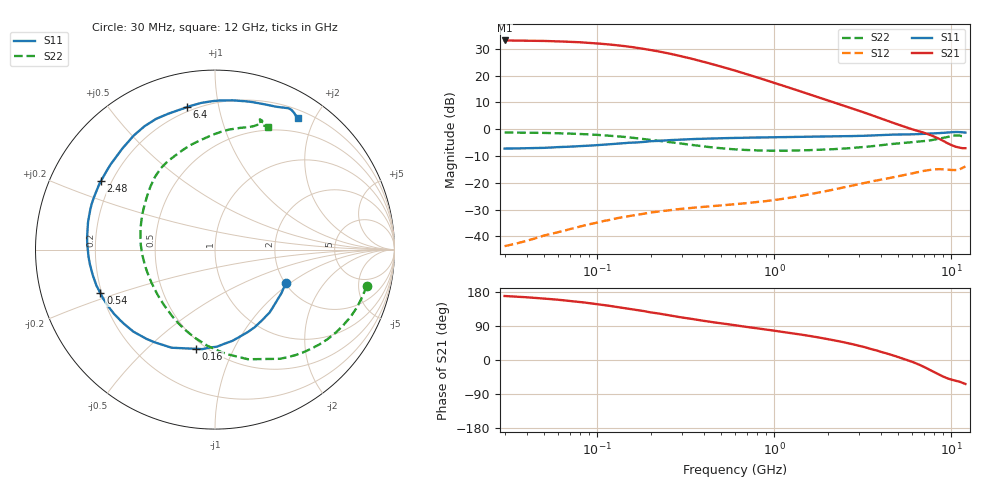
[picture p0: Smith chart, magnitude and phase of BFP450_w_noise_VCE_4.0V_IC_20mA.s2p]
! (c) 2015  Infineon Technologies AG, Munich
! Infineon Technologies  Discrete & RF Semiconductors
! BFP450
! VCE =  4.0 V,  IC =  20 mA
! Common Emitter S-Parameters:  Nov 2015
# GHz  S  MA  R  50
!  f  S11  S21  S12  S22
! GHz  MAG  ANG  MAG  ANG  MAG  ANG  MAG  ANG
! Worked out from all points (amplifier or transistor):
!   239 points, 30 MHz to 12 GHz, reference 50 ohm
!   highest |S21| = 33.1 dB at 30 MHz (marker M1)
!   |S21| within 3 dB of that: start of sweep to 177.8 MHz
!   unconditionally stable (mu >= 1): 1.68 GHz to end of sweep
!   at 300 MHz: K = 0.33, MSG = 28.4 dB, |S12| = -29.7 dB
!   at 1.88 GHz: K = 1.04, MAG = 16.1 dB, |S12| = -23.3 dB
!   at 12 GHz: K = 1.11, MAG = 1.4 dB, |S12| = -13.9 dB
!   lowest NFmin = 1.10 dB at 450 MHz
!   S11 on the Smith chart (normalised r, x): 30 MHz: 2.02, -0.93; 160 MHz: 0.45, -0.72; 540 MHz: 0.19, -0.18; 2.48 GHz: 0.16, +0.27; 6.4 GHz: 0.18, +0.81; 12 GHz: 0.30, +1.77
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0.03  0.4363 -25.2  45.21 168.9  0.0066 59.4  0.8693 -13.4
0.04  0.4427 -33.2  44.75 165.5  0.0083 62.3  0.862 -17.8
0.05  0.4498 -41.3  44.28 162.1  0.0104 62.8  0.8542 -22.1
0.06  0.464 -49.0  43.52 159.1  0.012 62.2  0.843 -26.4
0.085  0.4896 -65.7  41.26 151.6  0.0161 59.7  0.808 -36.6
0.12  0.5272 -84.3  37.73 142.2  0.0207 54.8  0.7538 -49.5
0.15  0.5589 -97.2  34.76 135.2  0.0239 50.9  0.7076 -59.3
0.16  0.5627 -100.7  33.74 133.5  0.0247 49.7  0.6905 -61.9
0.2  0.5979 -113.9  30 125.7  0.028 45.6  0.6376 -73.3
0.24  0.6169 -123.3  26.85 120.0  0.0302 42.5  0.5904 -82.4
0.3  0.6446 -134.8  22.84 112.3  0.0328 39.3  0.5367 -94.7
0.36  0.6583 -143.1  19.74 106.7  0.0347 37.2  0.4974 -104.5
0.45  0.6748 -152.5  16.21 99.7  0.0369 35.5  0.4574 -116.7
0.54  0.6833 -159.2  13.74 94.8  0.0388 35.0  0.4326 -126.0
0.6  0.6903 -163.1  12.34 91.4  0.04 34.8  0.4216 -131.9
0.8  0.7011 -172.6  9.226 83.4  0.0438 35.5  0.4028 -146.2
1  0.7086 -179.5  7.297 77.2  0.0479 36.6  0.3978 -156.7
1.64  0.7268 164.8  4.295 62.3  0.0625 38.2  0.4092 -179.1
2.48  0.7416 149.1  2.727 46.6  0.0826 35.2  0.4363 160.8
4.5  0.7918 119.7  1.377 14.5  0.1236 19.7  0.5261 129.3
6.4  0.8091 101.1  0.939 -9.9  0.1572 3.8  0.5829 108.0
12  0.8651 57.9  0.443 -63.2  0.202 -39.2  0.7448 66.6
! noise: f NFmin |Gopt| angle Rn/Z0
0.45  1.1  0.33  -178  0.07
0.9  1.17  0.39  -178  0.07
1.9  1.31  0.49  -163  0.07
2.4  1.45  0.52  -153  0.08
